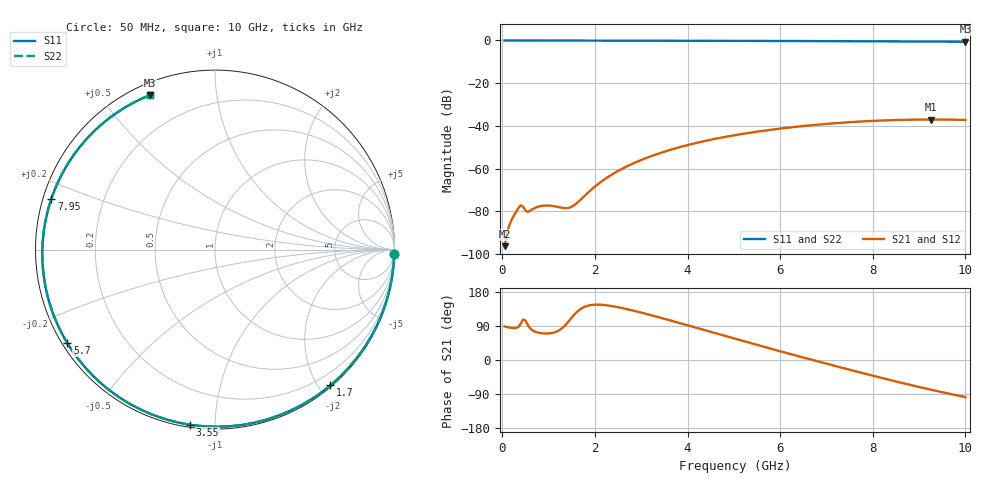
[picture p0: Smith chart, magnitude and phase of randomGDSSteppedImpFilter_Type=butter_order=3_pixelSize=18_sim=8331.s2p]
! freq	dB(S11)	phase(S11)	dB(S12)	phase(S12)
!  dB(S21)	phase(S21)	dB(S22)	phase(S22)
!S-par simulation data
#  GHz  S  DB  R 50
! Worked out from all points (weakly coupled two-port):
!   200 points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, 50 MHz to 10 GHz, reference 50 ohm
!   highest |S21| = -37.01 dB at 9.25 GHz (marker M1); lowest = -96.3 dB at 50 MHz (marker M2)
!   lowest |S11| = -0.6 dB at 10 GHz (marker M3), VSWR 29.12, Z = 2.47 + j33.1 ohm
!   |S11| at or under -10 dB: nowhere
!   |S22| runs from -0.6 to 0.0 dB; largest |S21 - S12| = 0
!   S11 on the Smith chart (normalised r, x): 50 MHz: 1, -79; 1.7 GHz: 0.02, -2.16; 3.55 GHz: 0.01, -0.87; 5.7 GHz: 0.01, -0.29; 7.95 GHz: 0.02, +0.15; 10 GHz: 0.05, +0.66
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0.05  -0.00 -1.5  -96.25 88.5  -96.25 88.5  -0.00 -1.5
0.3  -0.02 -8.9  -80.06 84.4  -80.06 84.4  -0.02 -8.9
0.4  -0.02 -11.9  -77.12 96.3  -77.12 96.3  -0.02 -11.9
0.55  -0.02 -16.4  -80.22 92.7  -80.22 92.7  -0.02 -16.4
0.9  -0.03 -26.7  -77.28 70.0  -77.28 70.0  -0.03 -26.7
1.4  -0.05 -41.2  -78.45 97.4  -78.45 97.4  -0.05 -41.2
1.55  -0.06 -45.4  -77.14 119.3  -77.14 119.3  -0.06 -45.4
1.7  -0.06 -49.6  -74.33 135.4  -74.33 135.4  -0.06 -49.6
1.75  -0.06 -51.0  -73.29 138.9  -73.29 138.9  -0.06 -51.0
2.1  -0.08 -60.7  -66.65 146.0  -66.65 146.0  -0.08 -60.7
2.45  -0.09 -70.1  -61.66 140.5  -61.66 140.5  -0.09 -70.1
2.9  -0.10 -81.9  -56.83 128.1  -56.83 128.1  -0.10 -81.9
3.4  -0.12 -94.5  -52.75 112.1  -52.75 112.1  -0.12 -94.5
3.55  -0.13 -98.1  -51.70 107.0  -51.70 107.0  -0.13 -98.1
4.25  -0.15 -114.9  -47.65 82.9  -47.65 82.9  -0.15 -114.9
5.05  -0.19 -133.2  -44.21 55.2  -44.21 55.2  -0.19 -133.2
5.7  -0.23 -147.6  -42.08 33.1  -42.08 33.1  -0.23 -147.6
6.7  -0.30 -169.5  -39.62 0.0  -39.62 0.0  -0.30 -169.5
7.95  -0.40 162.7  -37.69 -39.8  -37.69 -39.8  -0.40 162.7
8.35  -0.44 153.5  -37.33 -52.1  -37.33 -52.1  -0.44 153.5
9.25  -0.53 131.9  -37.01 -78.3  -37.01 -78.3  -0.53 131.9
10  -0.60 112.9  -37.17 -97.9  -37.17 -97.9  -0.60 112.9
